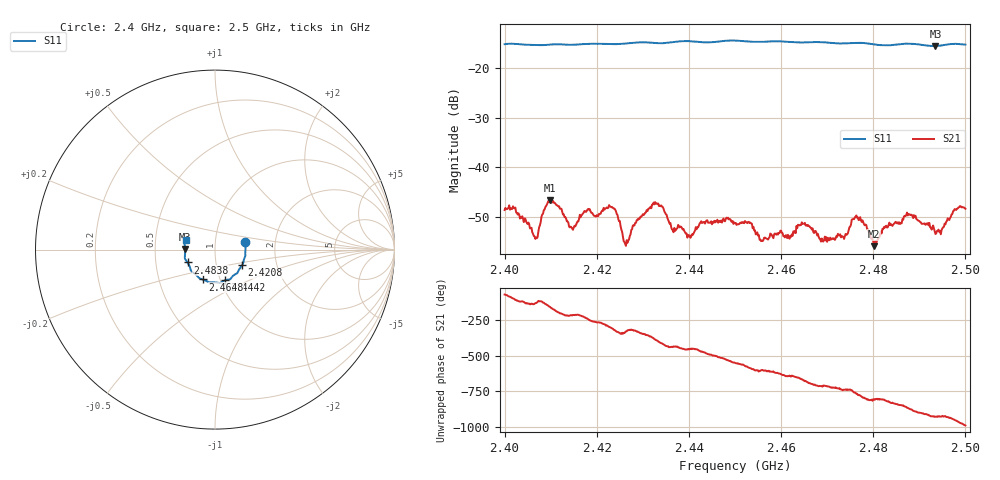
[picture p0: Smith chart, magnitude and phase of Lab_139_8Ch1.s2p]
# Hz S RI R 50
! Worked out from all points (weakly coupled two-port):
!   601 points, 2.4 GHz to 2.5 GHz, reference 50 ohm
!   highest |S21| = -46.60 dB at 2.4098 GHz (marker M1); lowest = -55.9 dB at 2.4802 GHz (marker M2)
!   lowest |S11| = -15.6 dB at 2.4935 GHz (marker M3), VSWR 1.40, Z = 35.8 + j0.216 ohm
!   |S11| at or under -10 dB: start of sweep to end of sweep
!   S12 and S22 are empty: the file has one direction only
!   S11 on the Smith chart (normalised r, x): 2.4 GHz: 1.40, +0.12; 2.4208 GHz: 1.33, -0.24; 2.4442 GHz: 1.05, -0.37; 2.4648 GHz: 0.83, -0.28; 2.4838 GHz: 0.73, -0.11; 2.5 GHz: 0.72, +0.08
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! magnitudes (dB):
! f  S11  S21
! 2.4 GHz  -15.2  -48.6
! 2.4067 GHz  -15.4  -54.4
! 2.4098 GHz  -15.3  -46.6
! 2.4145 GHz  -15.4  -52.1
! 2.4167 GHz  -15.3  -49.7
! 2.4208 GHz  -15.2  -49.3
! 2.4237 GHz  -15.2  -48.3
! 2.4263 GHz  -15.1  -55.8
! 2.4333 GHz  -15.0  -47.3
! 2.44 GHz  -14.6  -53.8
! 2.4442 GHz  -14.9  -51.1
! 2.45 GHz  -14.5  -51.2
! 2.4558 GHz  -14.8  -54.7
! 2.4648 GHz  -14.9  -51.4
! 2.4667 GHz  -14.8  -52.5
! 2.4735 GHz  -15.1  -54.0
! 2.4767 GHz  -15.0  -50.0
! 2.4802 GHz  -15.3  -55.9
! 2.4833 GHz  -15.5  -51.6
! 2.4838 GHz  -15.4  -51.4
! 2.4935 GHz  -15.6  -53.4
! 2.5 GHz  -15.3  -48.3
